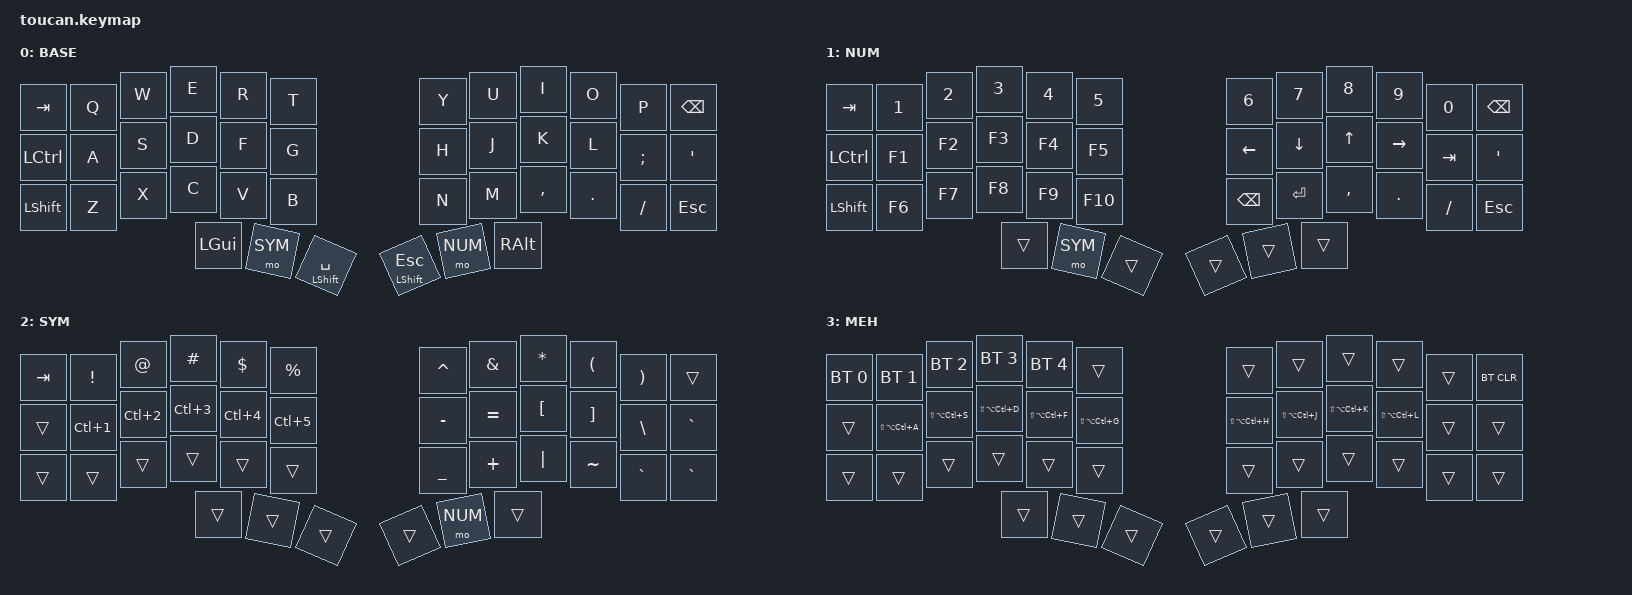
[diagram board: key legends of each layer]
/*
 * Copyright (c) 2020 The ZMK Contributors
 *
 * SPDX-License-Identifier: MIT
 */

#include <behaviors.dtsi>
#include <dt-bindings/zmk/keys.h>
#include <dt-bindings/zmk/bt.h>

#define BASE 0
#define NUM  1
#define SYM  2
#define MEH  3

/ {
    conditional_layers {
        compatible = "zmk,conditional-layers";
        tri_layer {
            if-layers = <1 2>;
            then-layer = <3>;
        };
    };

    behaviors {
        ht: hold_tap {
            compatible = "zmk,behavior-hold-tap";
            #binding-cells = <2>;
            flavor = "balanced";
            tapping-term-ms = <200>;
            quick-tap-ms = <100>;
            bindings = <&kp>, <&kp>;
        };
    };

    keymap {
        compatible = "zmk,keymap";

        default_layer {
            display-name = "BASE";
            bindings = <
                &kp TAB    &kp Q  &kp W  &kp E  &kp R  &kp T      &kp Y  &kp U  &kp I      &kp O    &kp P     &kp BSPC
                &kp LCTRL  &kp A  &kp S  &kp D  &kp F  &kp G      &kp H  &kp J  &kp K      &kp L    &kp SEMI  &kp SQT
                &kp LSHFT  &kp Z  &kp X  &kp C  &kp V  &kp B      &kp N  &kp M  &kp COMMA  &kp DOT  &kp FSLH  &kp ESC
                              &kp LGUI  &mo SYM  &ht LSHFT SPACE      &ht LSHFT ESC  &mo NUM  &kp RALT
            >;
        };

        number_layer {
            display-name = "NUM";
            bindings = <
                &kp TAB    &kp N1  &kp N2  &kp N3  &kp N4   &kp N5       &kp N6    &kp N7    &kp N8  &kp N9     &kp N0   &kp BSPC
                &kp LCTRL  &kp F1  &kp F2  &kp F3  &kp F4   &kp F5       &kp LEFT  &kp DOWN  &kp UP  &kp RIGHT  &kp TAB  &kp SQT
                &kp LSHFT  &kp F6  &kp F7  &kp F8  &kp F9   &kp F10      &kp BSPC  &kp ENTER &kp COMMA &kp DOT  &kp FSLH &kp ESC
                                     &trans  &mo SYM  &trans      &trans  &trans  &trans
            >;
        };

        symbol_layer {
            display-name = "SYM";
            bindings = <
                &kp TAB  &kp EXCL       &kp AT        &kp HASH       &kp DOLLAR      &kp PERCENT      &kp CARET  &kp AMPS   &kp ASTRK  &kp LPAR   &kp RPAR   &trans
                &trans   &kp LC(N1)     &kp LC(N2)    &kp LC(N3)     &kp LC(N4)      &kp LC(N5)       &kp MINUS  &kp EQUAL  &kp LBKT   &kp RBKT   &kp BSLH   &kp GRAVE
                &trans   &trans         &trans        &trans         &trans          &trans           &kp UNDER  &kp PLUS   &kp PIPE   &kp TILDE  &kp GRAVE  &kp GRAVE
                                                 &trans  &trans  &trans      &trans  &mo NUM  &trans
            >;
        };

        meh_layer {
            display-name = "MEH";
            bindings = <
                &bt BT_SEL 0  &bt BT_SEL 1       &bt BT_SEL 2       &bt BT_SEL 3       &bt BT_SEL 4       &trans                 &trans             &trans             &trans             &trans             &trans      &bt BT_CLR
                &trans        &kp LS(LA(LC(A)))  &kp LS(LA(LC(S)))  &kp LS(LA(LC(D)))  &kp LS(LA(LC(F)))  &kp LS(LA(LC(G)))      &kp LS(LA(LC(H)))  &kp LS(LA(LC(J)))  &kp LS(LA(LC(K)))  &kp LS(LA(LC(L)))  &trans      &trans
                &trans        &trans             &trans             &trans             &trans             &trans                 &trans             &trans             &trans             &trans             &trans      &trans
                                                                                                    &trans  &trans  &trans      &trans  &trans  &trans
            >;
        };

        extra_1 {
            status = "reserved";
        };

        extra_2 {
            status = "reserved";
        };

        extra_3 {
            status = "reserved";
        };
    };
};
